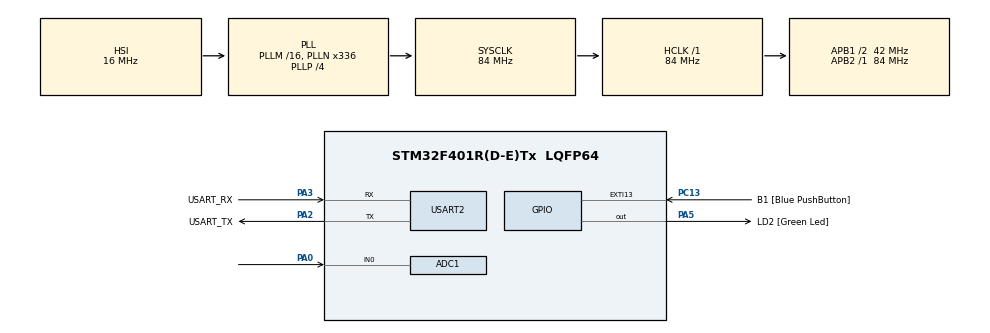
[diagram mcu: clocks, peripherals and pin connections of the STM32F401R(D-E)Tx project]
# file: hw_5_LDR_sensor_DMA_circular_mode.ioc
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ADC1.Channel-0\#ChannelRegularConversion=ADC_CHANNEL_0
ADC1.DMAContinuousRequests=ENABLE
ADC1.ExternalTrigConv=ADC_EXTERNALTRIGCONV_T2_TRGO
ADC1.NbrOfConversionFlag=1
ADC1.Rank-0\#ChannelRegularConversion=1
ADC1.SamplingTime-0\#ChannelRegularConversion=ADC_SAMPLETIME_480CYCLES
ADC1.master=1
Dma.ADC1.0.Direction=DMA_PERIPH_TO_MEMORY
Dma.ADC1.0.FIFOMode=DMA_FIFOMODE_DISABLE
Dma.ADC1.0.Instance=DMA2_Stream0
Dma.ADC1.0.MemDataAlignment=DMA_MDATAALIGN_HALFWORD
Dma.ADC1.0.MemInc=DMA_MINC_ENABLE
Dma.ADC1.0.Mode=DMA_CIRCULAR
Dma.ADC1.0.PeriphDataAlignment=DMA_PDATAALIGN_HALFWORD
Dma.ADC1.0.PeriphInc=DMA_PINC_DISABLE
Dma.ADC1.0.Priority=DMA_PRIORITY_LOW
Dma.Request0=ADC1
Mcu.Family=STM32F4
Mcu.Name=STM32F401R(D-E)Tx
Mcu.Package=LQFP64
NVIC.ADC_IRQn=true\:0\:0\:false\:false\:true\:true\:true\:true
NVIC.DMA2_Stream0_IRQn=true\:0\:0\:false\:false\:true\:false\:true\:true
NVIC.PriorityGroup=NVIC_PRIORITYGROUP_0
NVIC.TIM2_IRQn=true\:0\:0\:false\:false\:true\:true\:true\:true
PA0-WKUP.Signal=SharedAnalog_PA0
PA13.GPIO_Label=TMS
PA13.Mode=Serial_Wire
PA13.Signal=SYS_JTMS-SWDIO
PA14.GPIO_Label=TCK
PA14.Mode=Serial_Wire
PA14.Signal=SYS_JTCK-SWCLK
PA2.GPIO_Label=USART_TX
PA2.GPIO_Mode=GPIO_MODE_AF_PP
PA2.GPIO_PuPd=GPIO_NOPULL
PA2.GPIO_Speed=GPIO_SPEED_FREQ_LOW
PA2.Mode=Asynchronous
PA2.Signal=USART2_TX
PA3.GPIO_Label=USART_RX
PA3.GPIO_Mode=GPIO_MODE_AF_PP
PA3.GPIO_PuPd=GPIO_NOPULL
PA3.GPIO_Speed=GPIO_SPEED_FREQ_LOW
PA3.Mode=Asynchronous
PA3.Signal=USART2_RX
PA5.GPIO_Label=LD2 [Green Led]
PA5.GPIO_Mode=GPIO_MODE_OUTPUT_PP
PA5.GPIO_PuPd=GPIO_NOPULL
PA5.GPIO_Speed=GPIO_SPEED_FREQ_LOW
PA5.Signal=GPIO_Output
PB3.GPIO_Label=SWO
PB3.Signal=SYS_JTDO-SWO
PC13-ANTI_TAMP.GPIO_Label=B1 [Blue PushButton]
PC13-ANTI_TAMP.GPIO_ModeDefaultEXTI=GPIO_MODE_IT_FALLING
PC13-ANTI_TAMP.GPIO_PuPd=GPIO_NOPULL
PC13-ANTI_TAMP.Signal=GPXTI13
PC14-OSC32_IN.Mode=LSE-External-Oscillator
PC14-OSC32_IN.Signal=RCC_OSC32_IN
PC15-OSC32_OUT.Mode=LSE-External-Oscillator
PC15-OSC32_OUT.Signal=RCC_OSC32_OUT
PH0\ -\ OSC_IN.Mode=HSE-External-Clock-Source
PH0\ -\ OSC_IN.Signal=RCC_OSC_IN
PH1\ -\ OSC_OUT.Mode=HSE-External-Clock-Source
PH1\ -\ OSC_OUT.Signal=RCC_OSC_OUT
ProjectManager.HeapSize=0x200
ProjectManager.StackSize=0x400
ProjectManager.TargetToolchain=STM32CubeIDE
RCC.48MHZClocksFreq_Value=48000000
RCC.AHBFreq_Value=84000000
RCC.APB1CLKDivider=RCC_HCLK_DIV2
RCC.APB1Freq_Value=42000000
RCC.APB1TimFreq_Value=84000000
RCC.APB2Freq_Value=84000000
RCC.APB2TimFreq_Value=84000000
RCC.CortexFreq_Value=84000000
RCC.HCLKFreq_Value=84000000
RCC.HSE_VALUE=8000000
RCC.HSI_VALUE=16000000
RCC.PLLN=336
RCC.PLLP=RCC_PLLP_DIV4
RCC.PLLQ=7
RCC.SYSCLKFreq_VALUE=84000000
RCC.SYSCLKSource=RCC_SYSCLKSOURCE_PLLCLK
RCC.VCOOutputFreq_Value=336000000
SH.SharedAnalog_PA0.0=GPIO_Analog
SH.SharedAnalog_PA0.1=ADC1_IN0,IN0
TIM2.Period=100-1
TIM2.Prescaler=840-1
TIM2.TIM_MasterOutputTrigger=TIM_TRGO_UPDATE
USART2.VirtualMode=VM_ASYNC
VP_TIM2_VS_ClockSourceINT.Mode=Internal
board=NUCLEO-F401RE

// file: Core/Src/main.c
/* USER CODE BEGIN Header */
/**
  ******************************************************************************
  * @file           : main.c
  * @brief          : Main program body
  ******************************************************************************
  * @attention
  *
  * Copyright (c) 2023 STMicroelectronics.
  * All rights reserved.
  *
  * This software is licensed under terms that can be found in the LICENSE file
  * in the root directory of this software component.
  * If no LICENSE file comes with this software, it is provided AS-IS.
  *
  ******************************************************************************
  */
/* USER CODE END Header */
#include "main.h"
/* USER CODE BEGIN Includes */
#include "string.h"
#include "stdio.h"
#include "math.h"
/* USER CODE END Includes */

/* USER CODE BEGIN PD */
#define N_VALUE	1000
/* USER CODE END PD */

ADC_HandleTypeDef hadc1;
DMA_HandleTypeDef hdma_adc1;

TIM_HandleTypeDef htim2;

UART_HandleTypeDef huart2;

/* USER CODE BEGIN PV */
uint16_t conversion[N_VALUE];
uint32_t half_conversion;
/* USER CODE END PV */

void SystemClock_Config(void);
static void MX_GPIO_Init(void);
static void MX_DMA_Init(void);
static void MX_USART2_UART_Init(void);
static void MX_ADC1_Init(void);
static void MX_TIM2_Init(void);

/* USER CODE BEGIN 0 */
void HAL_ADC_ConvCpltCallback(ADC_HandleTypeDef* hadc)
{
	if(hadc == &hadc1)
	{
		char string[60];										// string for the future DMA transmition
		uint16_t LDR_adc = 0;									// variable used to sum the second half DMA array and the final conversion

		for(int i = N_VALUE/2; i < N_VALUE; i++)
		{
			LDR_adc += conversion[i];							// sum of the the second half DMA array
		}

		LDR_adc = (LDR_adc+half_conversion)/N_VALUE;			// average of all DMA array and reset the global variable
		half_conversion = 0;

		// mathematical conversion to obtain the LDR voltage, its resistance value and the correspondent light
		float LDR_voltage = LDR_adc*3.3/4096;
		int LDR = (LDR_voltage * 100000)/(3.3 - LDR_voltage);
		float LUX = 10 * pow ((100000 / LDR ),1.25);

		// write the 3 values converted into the string and then send this  to the terminal by the DMA transmition.
		int length = snprintf(string, sizeof(string),"Voltage LDR: %.3f V, LDR: %dohm, Light: %.3f LUX\r\n",LDR_voltage,LDR, LUX);
		HAL_UART_Transmit(&huart2, string, length, 200);
	}
}

void HAL_ADC_ConvHalfCpltCallback(ADC_HandleTypeDef* hadc)
{
	if(hadc == &hadc1){
		for(int i = 0; i < N_VALUE/2; i++)		half_conversion += conversion[i];	// sum of all DMA array first half. report this value on a global variable.
	}
}

	 /* USER CODE END 0 */

int main(void)
{

  /* MCU Configuration--------------------------------------------------------*/

  /* Reset of all peripherals, Initializes the Flash interface and the Systick. */
  HAL_Init();

  /* Configure the system clock */
  SystemClock_Config();

  /* Initialize all configured peripherals */
  MX_GPIO_Init();
  MX_DMA_Init();
  MX_USART2_UART_Init();
  MX_ADC1_Init();
  MX_TIM2_Init();
  /* USER CODE BEGIN 2 */
  HAL_TIM_Base_Start(&htim2);
  HAL_ADC_Start_DMA(&hadc1, conversion, sizeof(conversion)/sizeof(conversion[0]));

  /* USER CODE END 2 */

  /* Infinite loop */
  while (1)
  {

  }
}

void SystemClock_Config(void)
{
  RCC_OscInitTypeDef RCC_OscInitStruct = {0};
  RCC_ClkInitTypeDef RCC_ClkInitStruct = {0};

  /** Configure the main internal regulator output voltage
  */
  __HAL_RCC_PWR_CLK_ENABLE();
  __HAL_PWR_VOLTAGESCALING_CONFIG(PWR_REGULATOR_VOLTAGE_SCALE2);

  /** Initializes the RCC Oscillators according to the specified parameters
  * in the RCC_OscInitTypeDef structure.
  */
  RCC_OscInitStruct.OscillatorType = RCC_OSCILLATORTYPE_HSI;
  RCC_OscInitStruct.HSIState = RCC_HSI_ON;
  RCC_OscInitStruct.HSICalibrationValue = RCC_HSICALIBRATION_DEFAULT;
  RCC_OscInitStruct.PLL.PLLState = RCC_PLL_ON;
  RCC_OscInitStruct.PLL.PLLSource = RCC_PLLSOURCE_HSI;
  RCC_OscInitStruct.PLL.PLLM = 16;
  RCC_OscInitStruct.PLL.PLLN = 336;
  RCC_OscInitStruct.PLL.PLLP = RCC_PLLP_DIV4;
  RCC_OscInitStruct.PLL.PLLQ = 7;
  if (HAL_RCC_OscConfig(&RCC_OscInitStruct) != HAL_OK)
  {
    Error_Handler();
  }

  /** Initializes the CPU, AHB and APB buses clocks
  */
  RCC_ClkInitStruct.ClockType = RCC_CLOCKTYPE_HCLK|RCC_CLOCKTYPE_SYSCLK
                              |RCC_CLOCKTYPE_PCLK1|RCC_CLOCKTYPE_PCLK2;
  RCC_ClkInitStruct.SYSCLKSource = RCC_SYSCLKSOURCE_PLLCLK;
  RCC_ClkInitStruct.AHBCLKDivider = RCC_SYSCLK_DIV1;
  RCC_ClkInitStruct.APB1CLKDivider = RCC_HCLK_DIV2;
  RCC_ClkInitStruct.APB2CLKDivider = RCC_HCLK_DIV1;

  if (HAL_RCC_ClockConfig(&RCC_ClkInitStruct, FLASH_LATENCY_2) != HAL_OK)
  {
    Error_Handler();
  }
}

static void MX_ADC1_Init(void)
{

  ADC_ChannelConfTypeDef sConfig = {0};

  /** Configure the global features of the ADC (Clock, Resolution, Data Alignment and number of conversion)
  */
  hadc1.Instance = ADC1;
  hadc1.Init.ClockPrescaler = ADC_CLOCK_SYNC_PCLK_DIV4;
  hadc1.Init.Resolution = ADC_RESOLUTION_12B;
  hadc1.Init.ScanConvMode = DISABLE;
  hadc1.Init.ContinuousConvMode = DISABLE;
  hadc1.Init.DiscontinuousConvMode = DISABLE;
  hadc1.Init.ExternalTrigConvEdge = ADC_EXTERNALTRIGCONVEDGE_RISING;
  hadc1.Init.ExternalTrigConv = ADC_EXTERNALTRIGCONV_T2_TRGO;
  hadc1.Init.DataAlign = ADC_DATAALIGN_RIGHT;
  hadc1.Init.NbrOfConversion = 1;
  hadc1.Init.DMAContinuousRequests = ENABLE;
  hadc1.Init.EOCSelection = ADC_EOC_SINGLE_CONV;
  if (HAL_ADC_Init(&hadc1) != HAL_OK)
  {
    Error_Handler();
  }

  /** Configure for the selected ADC regular channel its corresponding rank in the sequencer and its sample time.
  */
  sConfig.Channel = ADC_CHANNEL_0;
  sConfig.Rank = 1;
  sConfig.SamplingTime = ADC_SAMPLETIME_480CYCLES;
  if (HAL_ADC_ConfigChannel(&hadc1, &sConfig) != HAL_OK)
  {
    Error_Handler();
  }

}

static void MX_TIM2_Init(void)
{

  TIM_ClockConfigTypeDef sClockSourceConfig = {0};
  TIM_MasterConfigTypeDef sMasterConfig = {0};

  htim2.Instance = TIM2;
  htim2.Init.Prescaler = 840-1;
  htim2.Init.CounterMode = TIM_COUNTERMODE_UP;
  htim2.Init.Period = 100-1;
  htim2.Init.ClockDivision = TIM_CLOCKDIVISION_DIV1;
  htim2.Init.AutoReloadPreload = TIM_AUTORELOAD_PRELOAD_DISABLE;
  if (HAL_TIM_Base_Init(&htim2) != HAL_OK)
  {
    Error_Handler();
  }
  sClockSourceConfig.ClockSource = TIM_CLOCKSOURCE_INTERNAL;
  if (HAL_TIM_ConfigClockSource(&htim2, &sClockSourceConfig) != HAL_OK)
  {
    Error_Handler();
  }
  sMasterConfig.MasterOutputTrigger = TIM_TRGO_UPDATE;
  sMasterConfig.MasterSlaveMode = TIM_MASTERSLAVEMODE_DISABLE;
  if (HAL_TIMEx_MasterConfigSynchronization(&htim2, &sMasterConfig) != HAL_OK)
  {
    Error_Handler();
  }

}

static void MX_USART2_UART_Init(void)
{

  huart2.Instance = USART2;
  huart2.Init.BaudRate = 115200;
  huart2.Init.WordLength = UART_WORDLENGTH_8B;
  huart2.Init.StopBits = UART_STOPBITS_1;
  huart2.Init.Parity = UART_PARITY_NONE;
  huart2.Init.Mode = UART_MODE_TX_RX;
  huart2.Init.HwFlowCtl = UART_HWCONTROL_NONE;
  huart2.Init.OverSampling = UART_OVERSAMPLING_16;
  if (HAL_UART_Init(&huart2) != HAL_OK)
  {
    Error_Handler();
  }

}

static void MX_DMA_Init(void)
{

  /* DMA controller clock enable */
  __HAL_RCC_DMA2_CLK_ENABLE();

  /* DMA interrupt init */
  /* DMA2_Stream0_IRQn interrupt configuration */
  HAL_NVIC_SetPriority(DMA2_Stream0_IRQn, 0, 0);
  HAL_NVIC_EnableIRQ(DMA2_Stream0_IRQn);

}

static void MX_GPIO_Init(void)
{
  GPIO_InitTypeDef GPIO_InitStruct = {0};

  /* GPIO Ports Clock Enable */
  __HAL_RCC_GPIOC_CLK_ENABLE();
  __HAL_RCC_GPIOH_CLK_ENABLE();
  __HAL_RCC_GPIOA_CLK_ENABLE();
  __HAL_RCC_GPIOB_CLK_ENABLE();

  /*Configure GPIO pin Output Level */
  HAL_GPIO_WritePin(LD2_GPIO_Port, LD2_Pin, GPIO_PIN_RESET);

  /*Configure GPIO pin : B1_Pin */
  GPIO_InitStruct.Pin = B1_Pin;
  GPIO_InitStruct.Mode = GPIO_MODE_IT_FALLING;
  GPIO_InitStruct.Pull = GPIO_NOPULL;
  HAL_GPIO_Init(B1_GPIO_Port, &GPIO_InitStruct);

  /*Configure GPIO pin : LD2_Pin */
  GPIO_InitStruct.Pin = LD2_Pin;
  GPIO_InitStruct.Mode = GPIO_MODE_OUTPUT_PP;
  GPIO_InitStruct.Pull = GPIO_NOPULL;
  GPIO_InitStruct.Speed = GPIO_SPEED_FREQ_LOW;
  HAL_GPIO_Init(LD2_GPIO_Port, &GPIO_InitStruct);

}

void Error_Handler(void)
{
  __disable_irq();
  while (1)
  {
  }
}
